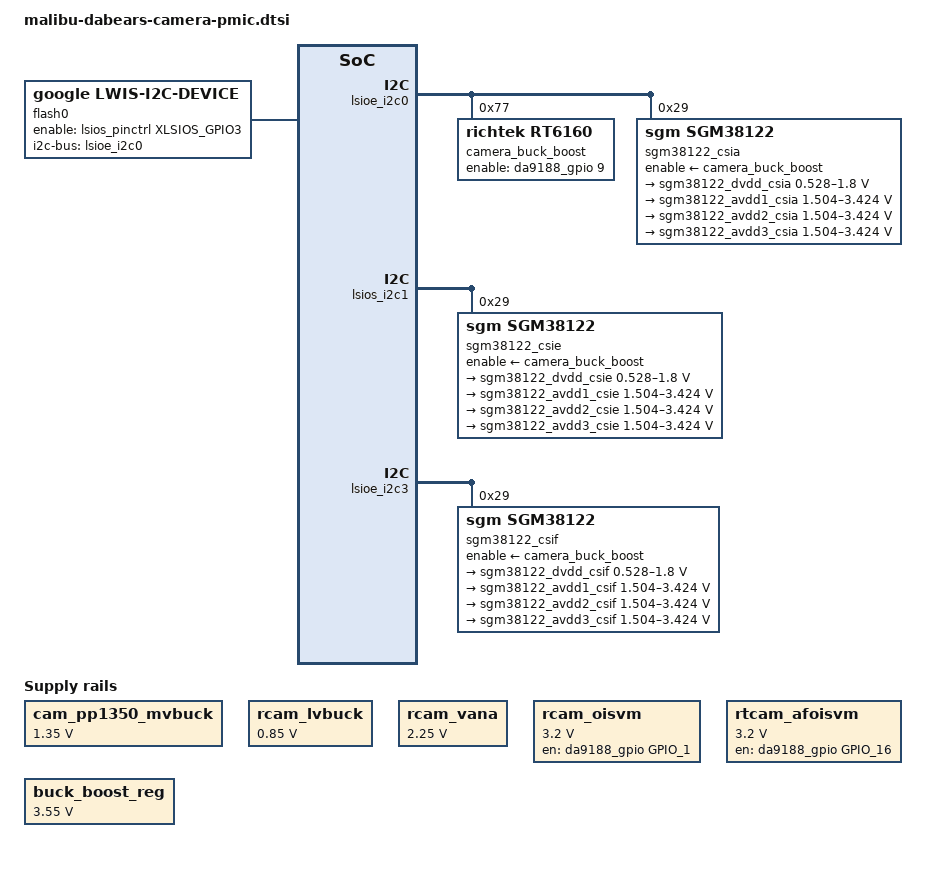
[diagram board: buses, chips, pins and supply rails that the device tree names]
// SPDX-License-Identifier: GPL-2.0-only
/*
 * camera PMIC device tree for MBU device
 *
 * Copyright 2025 Google LLC.
 *
 */

/ {
	fragment@rcam_supply {
		target-path = "/";
		__overlay__ {
			/* SN62088AYFPR */
			cam_pp1350_mvbuck: cam_supply@0 {
				compatible = "regulator-fixed";
				status = "okay";
				regulator-name = "PP1350_CAM";
				regulator-min-microvolt = <1350000>;
				regulator-max-microvolt = <1350000>;
				/* 1.25ms */
				regulator-enable-ramp-delay = <1250>;
				enable-active-high;
				/* MVBUCK_EN */
				gpio = <PMICS2CAM_MVBUCK_EN(GPIO_ACTIVE_HIGH)>;
			};

			/* SN62088AYFPR */
			rcam_lvbuck: rcam_supply@0 {
				compatible = "regulator-fixed";
				status = "okay";
				regulator-name = "RCAM_VDIG";
				regulator-min-microvolt = <850000>;
				regulator-max-microvolt = <850000>;
				/* 1.25ms */
				regulator-enable-ramp-delay = <1250>;
				enable-active-high;
				/* VDIG_EN */
				gpio = <PMICM2RCAM_VDIG_EN(GPIO_ACTIVE_HIGH)>;
			};

			/* TPS7A20225PDQNR */
			rcam_vana: rcam_supply@1 {
				compatible = "regulator-fixed";
				status = "okay";
				regulator-name = "RCAM_VANA";
				regulator-min-microvolt = <2250000>;
				regulator-max-microvolt = <2250000>;
				/* 1.15ms */
				regulator-enable-ramp-delay = <1150>;
				enable-active-high;
				/* VANA_EN */
				gpio = <PMICM2RCAM_VANA_EN(GPIO_ACTIVE_HIGH)>;
			};

			/* TLV75532PDQNR */
			rcam_oisvm: rcam_supply@2 {
				compatible = "regulator-fixed";
				status = "okay";
				regulator-name = "PP3200_RCAM_OIS_VM";
				regulator-min-microvolt = <3200000>;
				regulator-max-microvolt = <3200000>;
				/* 0.55ms */
				regulator-enable-ramp-delay = <550>;
				enable-active-high;
				/* PMICM2RCAM_OIS_VM_EN */
				gpio = <&da9188_gpio GPIO_1 GPIO_ACTIVE_HIGH>;
			};

			/* TLV75532PDQNR */
			rtcam_afoisvm: rcam_supply@3 {
				compatible = "regulator-fixed";
				status = "okay";
				regulator-name = "PP3200_RTCAM_AFOIS_VM";
				regulator-min-microvolt = <3200000>;
				regulator-max-microvolt = <3200000>;
				/* 0.55ms */
				regulator-enable-ramp-delay = <550>;
				enable-active-high;
				/* PMICS2RTCAM_AFOIS_VM_EN */
				gpio = <&da9188_gpio GPIO_16 GPIO_ACTIVE_HIGH>;
			};
		};
	};
};

&buck_boost_reg {
	regulator-min-microvolt = <3550000>;
	regulator-max-microvolt = <3550000>;
};

&lsioe_i2c0 {
	#address-cells = <1>;
	#size-cells = <0>;
	camera_buck_boost: rt6166@77 {
		compatible = "richtek,rt6160";
		reg = <0x77>;
		/* PMICS2CAM_BBPMIC_E */
		enable-gpios = <&da9188_gpio 9 GPIO_ACTIVE_HIGH>;
		status = "ok";
		regulator-name = "rt6166-regulator";
		regulator-min-microvolt = <3200000>;
		regulator-max-microvolt = <3200000>;
		regulator-always-on;
		/* 2ms */
		regulator-enable-ramp-delay = <2000>;
		/* RT6160_MODE_AUTO */
		regulator-initial-mode = <0x0>;
		/* Allow for NORMAL (auto) and FAST (FPWM) mode */
		regulator-allowed-modes = <0x0>, <0x1>;
	};

	sgm38122_csia: sgm38122@29 {
		compatible = "sgm,sgm38122";
		reg = <0x29>;
		enable-supply = <&camera_buck_boost>;
		status = "ok";

		regulators {
			sgm38122_dvdd_csia: dvdd {
				regulator-name = "dvdd";
				regulator-min-microvolt = <528000>;
				regulator-max-microvolt = <1800000>;
				in1-supply = <&cam_pp1350_mvbuck>;
			};

			sgm38122_avdd1_csia: avdd1 {
				regulator-name = "avdd1";
				regulator-min-microvolt = <1504000>;
				regulator-max-microvolt = <3424000>;
				in2-supply = <&camera_buck_boost>;
			};

			sgm38122_avdd2_csia: avdd2 {
				regulator-name = "avdd2";
				regulator-min-microvolt = <1504000>;
				regulator-max-microvolt = <3424000>;
				in2-supply = <&camera_buck_boost>;
			};

			sgm38122_avdd3_csia: avdd3 {
				regulator-name = "avdd3";
				regulator-min-microvolt = <1504000>;
				regulator-max-microvolt = <3424000>;
				in3-supply = <&camera_buck_boost>;
			};
		};
	};
};

/ {
	fragment@lwiscamera {
		target-path = "/";
		__overlay__ {
			flash0: flash@0 {
				compatible = "google,lwis-i2c-device";

				/* Device node name */
				node-name = "flash-lm3644";

				/* I2C */
				i2c-bus = <&lsioe_i2c0>;
				i2c-addr = <0x63>;

				/* Registers */
				reg-addr-bitwidth = <8>;
				reg-value-bitwidth = <8>;

				/* GPIOs */
				/* AP2FLASH_EN */
				enable-gpios = <&lsios_pinctrl XLSIOS_GPIO3 GPIO_ACTIVE_HIGH>;

				power-up-seqs = "enable";
				power-up-seq-types = "gpio";
				power-up-seq-delays-us = <0>;

				power-down-seqs = "enable";
				power-down-seq-types = "gpio";
				power-down-seq-delays-us = <0>;
			};
		};
	};
};

&lsios_i2c1 {
	#address-cells = <1>;
	#size-cells = <0>;

	sgm38122_csie: sgm38122@29 {
		compatible = "sgm,sgm38122";
		reg = <0x29>;
		enable-supply = <&camera_buck_boost>;
		status = "ok";

		regulators {
			sgm38122_dvdd_csie: dvdd {
				regulator-name = "dvdd";
				regulator-min-microvolt = <528000>;
				regulator-max-microvolt = <1800000>;
				in1-supply = <&cam_pp1350_mvbuck>;
			};

			sgm38122_avdd1_csie: avdd1 {
				regulator-name = "avdd1";
				regulator-min-microvolt = <1504000>;
				regulator-max-microvolt = <3424000>;
				in2-supply = <&camera_buck_boost>;
			};

			sgm38122_avdd2_csie: avdd2 {
				regulator-name = "avdd2";
				regulator-min-microvolt = <1504000>;
				regulator-max-microvolt = <3424000>;
				in2-supply = <&camera_buck_boost>;
			};

			sgm38122_avdd3_csie: avdd3 {
				regulator-name = "avdd3";
				regulator-min-microvolt = <1504000>;
				regulator-max-microvolt = <3424000>;
			};
		};
	};
};

&lsioe_i2c3 {
	#address-cells = <1>;
	#size-cells = <0>;

	sgm38122_csif: sgm38122@29 {
		compatible = "sgm,sgm38122";
		reg = <0x29>;
		enable-supply = <&camera_buck_boost>;
		status = "ok";

		regulators {
			sgm38122_dvdd_csif: dvdd {
				regulator-name = "dvdd";
				regulator-min-microvolt = <528000>;
				regulator-max-microvolt = <1800000>;
				in1-supply = <&cam_pp1350_mvbuck>;
			};

			sgm38122_avdd1_csif: avdd1 {
				regulator-name = "avdd1";
				regulator-min-microvolt = <1504000>;
				regulator-max-microvolt = <3424000>;
				in2-supply = <&camera_buck_boost>;
			};

			sgm38122_avdd2_csif: avdd2 {
				regulator-name = "avdd2";
				regulator-min-microvolt = <1504000>;
				regulator-max-microvolt = <3424000>;
				in2-supply = <&camera_buck_boost>;
			};

			sgm38122_avdd3_csif: avdd3 {
				regulator-name = "avdd3";
				regulator-min-microvolt = <1504000>;
				regulator-max-microvolt = <3424000>;
				in3-supply = <&buck_boost_reg>;
			};
		};
	};
};
